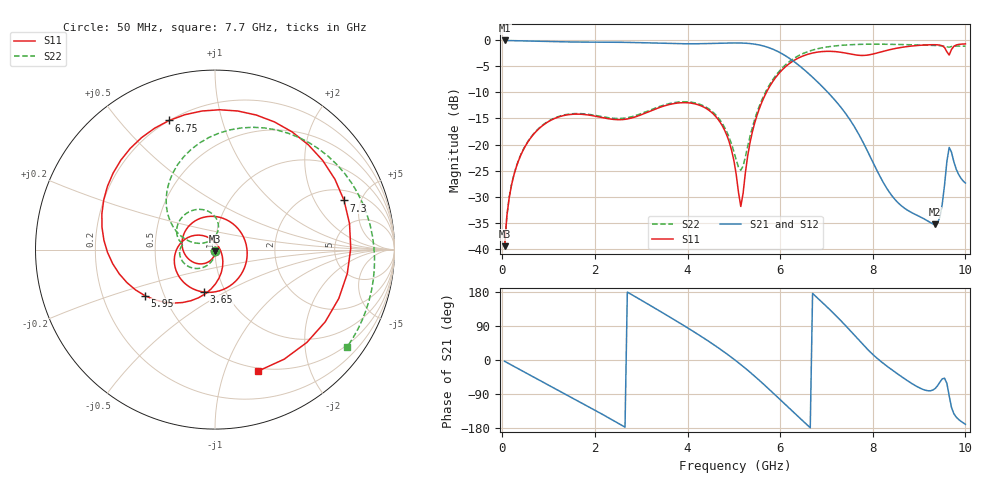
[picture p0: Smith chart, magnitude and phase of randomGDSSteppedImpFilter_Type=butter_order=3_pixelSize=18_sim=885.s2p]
! freq	dB(S11)	phase(S11)	dB(S12)	phase(S12)
!  dB(S21)	phase(S21)	dB(S22)	phase(S22)
!S-par simulation data
#  GHz  S  DB  R 50
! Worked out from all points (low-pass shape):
!   200 points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, 50 MHz to 10 GHz, reference 50 ohm
!   highest |S21| = -0.02 dB at 50 MHz (marker M1); lowest = -35.3 dB at 9.35 GHz (marker M2)
!   |S21| within 3 dB of the highest: start of sweep to 6.126 GHz
!   lowest |S11| = -39.5 dB at 50 MHz (marker M3), VSWR 1.02, Z = 50.1 - j1.05 ohm
!   |S11| at or under -10 dB: start of sweep to 5.703 GHz
!   |S22| runs from -39.4 to -0.7 dB; largest |S21 - S12| = 0
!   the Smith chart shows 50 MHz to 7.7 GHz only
!   S11 on the Smith chart (normalised r, x): 50 MHz: 1.00, -0.02; 3.65 GHz: 0.79, -0.40; 5.95 GHz: 0.39, -0.26; 6.75 GHz: 0.20, +0.69; 7.3 GHz: 2.65, +3.56; 7.7 GHz: 0.47, -1.31
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0.05  -39.50 -82.4  -0.02 -3.4  -0.02 -3.4  -39.44 -81.3
0.5  -20.26 -127.3  -0.12 -33.4  -0.12 -33.4  -20.17 -116.3
1.75  -14.22 125.1  -0.34 -115.7  -0.34 -115.7  -14.10 -176.6
2.6  -15.20 22.3  -0.38 -173.7  -0.38 -173.7  -14.97 169.8
3.4  -12.87 -78.8  -0.56 129.1  -0.56 129.1  -12.68 156.6
3.65  -12.23 -104.6  -0.62 110.9  -0.62 110.9  -12.05 146.3
4.35  -12.81 -170.1  -0.64 57.9  -0.64 57.9  -12.60 107.8
5.05  -25.67 102.1  -0.50 -2.4  -0.50 -2.4  -22.90 90.9
5.15  -31.88 33.7  -0.51 -12.1  -0.51 -12.1  -24.92 120.6
5.45  -15.87 -82.1  -0.73 -42.8  -0.73 -42.8  -15.17 160.8
5.95  -6.60 -146.8  -2.14 -98.8  -2.14 -98.8  -6.25 118.9
6.35  -3.60 162.4  -4.42 -144.8  -4.42 -144.8  -3.18 77.8
6.7  -2.44 116.4  -7.08 175.6  -7.08 175.6  -1.87 43.9
6.75  -2.35 109.5  -7.49 170.0  -7.49 170.0  -1.75 39.3
7.3  -2.28 20.9  -12.72 105.2  -12.72 105.2  -0.97 -6.9
7.7  -2.88 -70.4  -18.07 52.4  -18.07 52.4  -0.78 -36.2
8.05  -2.53 -156.7  -24.26 9.2  -24.26 9.2  -0.74 -59.4
8.35  -1.83 145.8  -29.04 -20.2  -29.04 -20.2  -0.76 -77.8
8.8  -1.13 85.8  -32.87 -58.7  -32.87 -58.7  -0.84 -103.5
9.35  -0.85 33.4  -35.29 -74.9  -35.29 -74.9  -0.99 -133.1
9.65  -2.82 16.3  -20.55 -94.6  -20.55 -94.6  -1.32 -147.6
10  -0.68 -7.2  -27.39 -169.7  -27.39 -169.7  -1.13 -165.8
